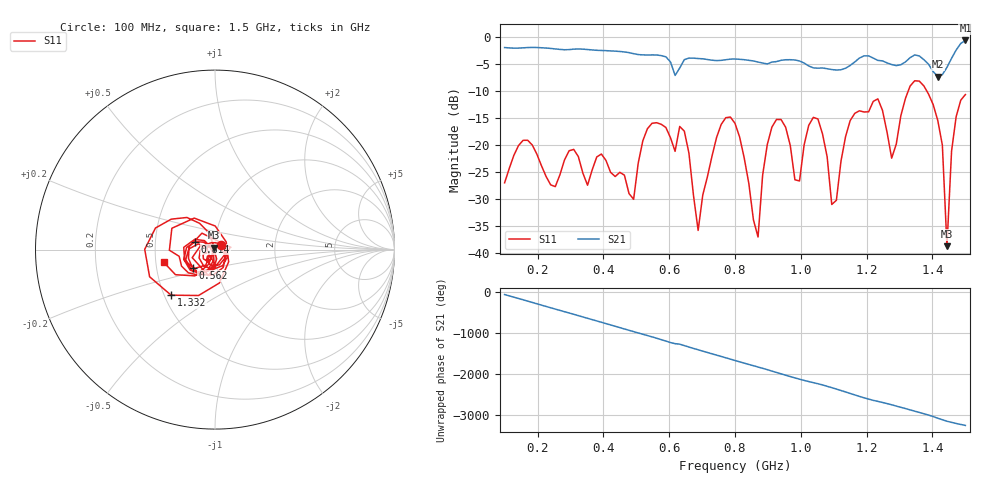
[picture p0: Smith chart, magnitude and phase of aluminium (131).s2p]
! NanoVNA-App
! Date: 2025-09-25 14:56:18
! Start: 100MHz Stop: 1,5GHz Points: 101
! S-Parameter data: F S11 S21 S12 S22
# Hz S RI R 50
!  Frequency  S11_Real  S11_Imag  S21_Real  S21_Imag  S12_Real  S12_Imag  S22_Real  S22_Imag
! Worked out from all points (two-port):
!   101 points, 100 MHz to 1.5 GHz, reference 50 ohm
!   highest |S21| = -0.60 dB at 1.5 GHz (marker M1); lowest = -7.3 dB at 1.416 GHz (marker M2)
!   |S21| within 3 dB of the highest: start of sweep to 587.7 MHz; 1.461 GHz to end of sweep (the widest 2 of 4)
!   lowest |S11| = -38.7 dB at 1.444 GHz (marker M3), VSWR 1.02, Z = 49.6 + j1.08 ohm
!   |S11| at or under -10 dB: start of sweep to 1.326 GHz; 1.383 GHz to end of sweep
!   S12 and S22 are empty: the file has one direction only
!   S11 on the Smith chart (normalised r, x): 100 MHz: 1.07, +0.06; 562 MHz: 0.76, -0.16; 814 MHz: 0.80, +0.07; 1.332 GHz: 0.54, -0.31; 1.5 GHz: 0.55, -0.09
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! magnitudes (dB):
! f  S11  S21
! 100 MHz  -27.0  -1.9
! 338 MHz  -25.2  -2.2
! 492 MHz  -30.0  -3.1
! 562 MHz  -15.9  -3.3
! 576 MHz  -16.2  -3.4
! 646 MHz  -17.4  -4.2
! 688 MHz  -35.8  -4.0
! 800 MHz  -16.0  -4.0
! 814 MHz  -18.5  -4.1
! 870 MHz  -37.0  -4.6
! 912 MHz  -16.7  -4.6
! 996 MHz  -26.7  -4.4
! 1.038 GHz  -14.9  -5.7
! 1.094 GHz  -31.0  -6.0
! 1.164 GHz  -14.1  -4.6
! 1.234 GHz  -11.4  -4.3
! 1.276 GHz  -22.4  -5.1
! 1.332 GHz  -9.1  -3.8
! 1.416 GHz  -15.4  -7.3
! 1.444 GHz  -38.7  -5.6
! 1.458 GHz  -21.1  -3.9
! 1.5 GHz  -10.6  -0.6
